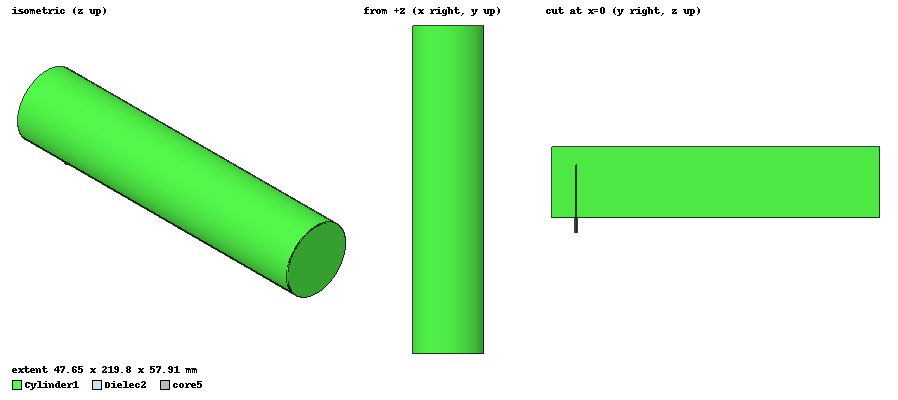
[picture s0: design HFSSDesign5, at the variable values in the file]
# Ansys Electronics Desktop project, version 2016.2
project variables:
  $Pin_length = 10mm
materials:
  pec: conductivity=1e+030
  vacuum: permittivity=1

design HFSSDesign5 (HFSS, DrivenModal, model units mm)
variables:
  Ri = 0.2213mm  # optimise 0.2mm..1mm; sensitivity 0.11065mm..0.33195mm
  zce = 20.532852mm  # optimise 15mm..25mm; sensitivity 10.2664258552813mm..30.7992775658438mm
  ycer = 16.45mm  # optimise 15mm..20mm; sensitivity 8.225mm..24.675mm
  Hc = 35.29mm  # optimise 30mm..53.60415mm; sensitivity 17.645mm..52.935mm
  Ro = Ri+Rd
  t = 0.235611mm
  Rd = 1.115mm  # optimise 0.8mm..2mm; sensitivity 0.5575mm..1.6725mm
  RK = 5mm
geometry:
  Cylinder1 [vacuum] = cylinder(axis=Y, base_centre=(0mm, 0mm, 0mm), radius=0.023824072meter, height=(0.02197770609155983*1000*10) mm)
  coordinate_system RelativeCS1 = origin=(30mm, 2.13mm, -6mm) x=(1mm, 0mm, 0mm) y=(0mm, 1mm, 0mm)
  coordinate_system RelativeCS2 = origin=(-30mm, -2.13mm, 6mm) x=(1mm, 0mm, 0mm) y=(0mm, 1mm, 0mm) in RelativeCS1
  core5 [pec] = cylinder(axis=Z, base_centre=(0meter, ycer, -0.023824071643967-zce/2), radius=Ri, height=Hc+zce/2) in RelativeCS2
  core5_3 = core5.copy()
  core5_5 = core5.copy()
  Cylinder1.subtract(core5_5)
  Cylinder1_4 = Cylinder1.copy()
  Dielec2 [vacuum] = cylinder(axis=Z, base_centre=(0meter, ycer, -0.023824071643967-zce/2), radius=Ro-t, height=zce) in RelativeCS2
  Dielec2.subtract(core5_3)
  Dielec2.subtract(Cylinder1_4)
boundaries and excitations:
  1: Wave Port Faces=Cylinder1.face(3 of 3) NumModes=1 Modes{Mode1{IntLine{centre of Cylinder1.face(3 of 3) -> Cylinder1.vertex(2 of 2)} CharImp=Zpi}}
  2: Wave Port Faces=Dielec2.face(2 of 3) NumModes=1 Modes{Mode1{CharImp=Zpi}}
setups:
  Setup1: HfssDriven Frequency=6GHz MaxDeltaS=0.02 MaximumPasses=5 MinimumPasses=1 MinimumConvergedPasses=1 PercentRefinement=30 BasisOrder=1 PortAccuracy=2
    sweep Sweep: 5.5GHz to 6.5GHz, 20 points; Type=Interpolating InterpTolerance=0.5 InterpMaxSolns=250 InterpUsePortImped=false PassivityErrorTolerance=0.0001
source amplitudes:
  1:1: 1W 0deg
  2:1: 0W 0deg
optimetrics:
  SensitivitySetup1: Sensitivity MaxIterations=10 Master_Goal=-1 MasterError=0.0001
    calculate dB(S(1,1)) on Setup1 : Sweep at Freq 5.5GHz
    calculate dB(S(1,2)) on Setup1 : Sweep at Freq 5.5GHz
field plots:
  Mag_E1: E Field in Cylinder1 on Setup1 : LastAdaptive at Freq=6GHz Phase=0deg
  Mag_E2: E Field in Dielec2 on Setup1 : LastAdaptive at Freq=6GHz Phase=0deg
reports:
  XY Plot 1: dB(S(1,1)) vs Freq on Setup1 : Sweep [Ri=0.3mm zce=all ycer=16.7705mm,16.8705mm,16.9705mm Rd=all]
  XY Plot 2: dB(S(2,2)) vs Freq on Setup1 : Sweep [Ri=all zce=all ycer=all Rd=all Hc=all]
  XY Plot 3: dB(S(1,2)) vs Freq on Setup1 : Sweep [Ri=all zce=all ycer=all Rd=all Hc=all]
